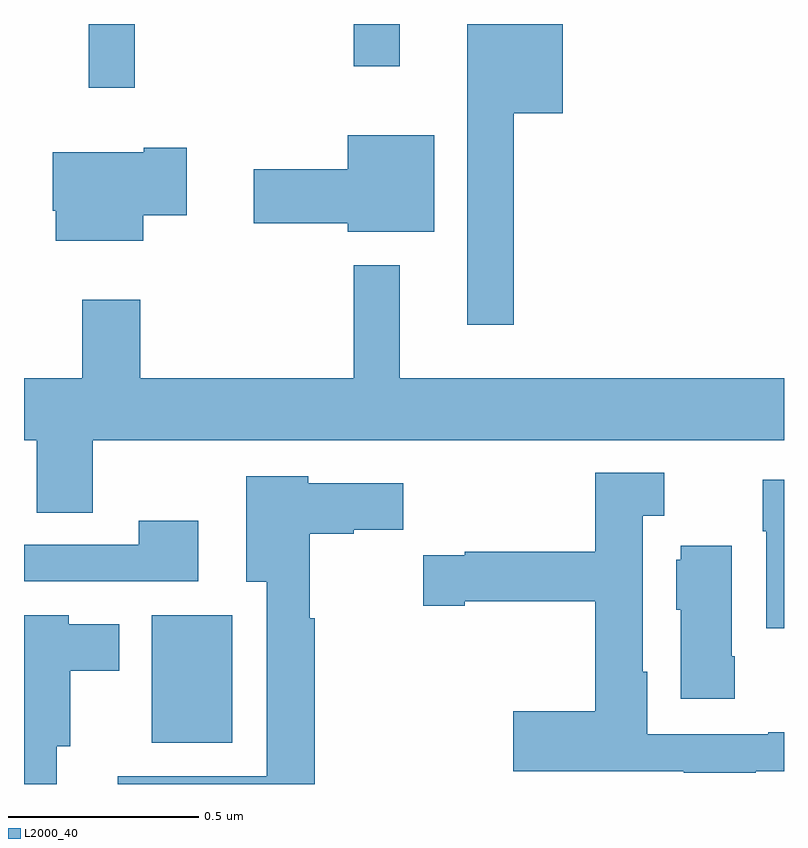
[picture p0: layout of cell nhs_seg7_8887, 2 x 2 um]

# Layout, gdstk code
import gdstk
lib = gdstk.Library(unit=1e-6, precision=1e-09)
def R(c, l, rs):  # rectangles x0, y0, x1, y1
    for r in rs: c.add(gdstk.rectangle(r[:2], r[2:], *l))
def P(c, l, *ps):  # polygons
    for p in ps: c.add(gdstk.Polygon(p, *l))
L2000_40 = (2000, 40)

nhs_seg7_8887 = lib.new_cell('nhs_seg7_8887')
R(nhs_seg7_8887, L2000_40, [(230.336,1045.109,230.548,1045.444), (230.17,1046.832,230.291,1047), (230.868,1046.889,230.989,1047)])
P(nhs_seg7_8887, L2000_40, [(231.289,1046.765),(231.418,1046.765),(231.418,1047),(231.167,1047),(231.167,1046.208),(231.289,1046.208)],
  [(231.079,1046.707),(230.852,1046.707),(230.852,1046.618),(230.604,1046.618),(230.604,1046.476),(230.852,1046.476),(230.852,1046.453),(231.079,1046.453)],
  [(230.314,1046.497),(230.428,1046.497),(230.428,1046.675),(230.315,1046.675),(230.315,1046.662),(230.075,1046.662),(230.075,1046.508),(230.084,1046.508),(230.084,1046.429),(230.314,1046.429)],
  [(230.181,1045.904),(232,1045.904),(232,1046.068),(230.989,1046.068),(230.989,1046.365),(230.868,1046.365),(230.868,1046.068),(230.306,1046.068),(230.306,1046.275),(230.153,1046.275),(230.153,1046.068),(230,1046.068),(230,1045.904),(230.033,1045.904),(230.033,1045.714),(230.181,1045.714)],
  [(231.925,1045.034),(232,1045.034),(232,1045.136),(231.958,1045.136),(231.958,1045.131),(231.64,1045.131),(231.64,1045.296),(231.628,1045.296),(231.628,1045.706),(231.685,1045.706),(231.685,1045.819),(231.503,1045.819),(231.503,1045.611),(231.16,1045.611),(231.16,1045.602),(231.05,1045.602),(231.05,1045.469),(231.16,1045.469),(231.16,1045.481),(231.503,1045.481),(231.503,1045.192),(231.288,1045.192),(231.288,1045.034),(231.736,1045.034),(231.736,1045.03),(231.925,1045.03)],
  [(230.765,1045.436),(230.752,1045.436),(230.752,1045.658),(230.868,1045.658),(230.868,1045.669),(230.998,1045.669),(230.998,1045.792),(230.748,1045.792),(230.748,1045.81),(230.585,1045.81),(230.585,1045.532),(230.639,1045.532),(230.639,1045.02),(230.247,1045.02),(230.247,1045),(230.765,1045)],
  [(232,1045.801),(231.944,1045.801),(231.944,1045.665),(231.953,1045.665),(231.953,1045.41),(232,1045.41)],
  [(230.458,1045.693),(230.302,1045.693),(230.302,1045.629),(230,1045.629),(230,1045.533),(230.458,1045.533)],
  [(231.87,1045.336),(231.862,1045.336),(231.862,1045.627),(231.728,1045.627),(231.728,1045.59),(231.716,1045.59),(231.716,1045.458),(231.728,1045.458),(231.728,1045.224),(231.87,1045.224)],
  [(230.086,1045.1),(230.122,1045.1),(230.122,1045.298),(230.251,1045.298),(230.251,1045.42),(230.118,1045.42),(230.118,1045.444),(230,1045.444),(230,1045),(230.086,1045)])

lib.write_gds('nhs_seg7_8887.gds')
